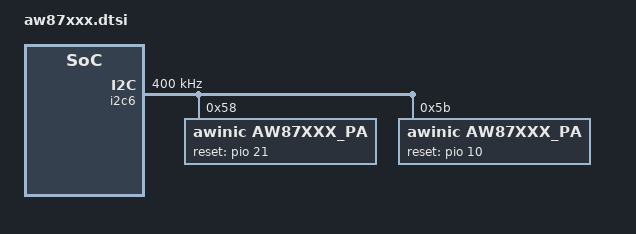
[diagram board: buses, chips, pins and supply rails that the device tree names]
/*stereo dtsi config*/
&i2c6 {
/* AWINIC AW87XXX Smart K PA */
	clock-frequency = <400000>;
	aw87xxx_pa@58 {
		compatible = "awinic,aw87xxx_pa","ocs,oca72xxx_pa";
		reg = <0x58>;
		reset-gpio = <&pio 21 0>;
		dev_index = < 0 >;
		status = "okay";
	};

	aw87xxx_pa@5B {
		compatible = "awinic,aw87xxx_pa","ocs,oca72xxx_pa";
		reg = <0x5B>;
		reset-gpio = <&pio 10 0>;
		dev_index = < 1 >;
		status = "okay";
	};
/* AWINIC AW87XXX Smart K PA End */
};
